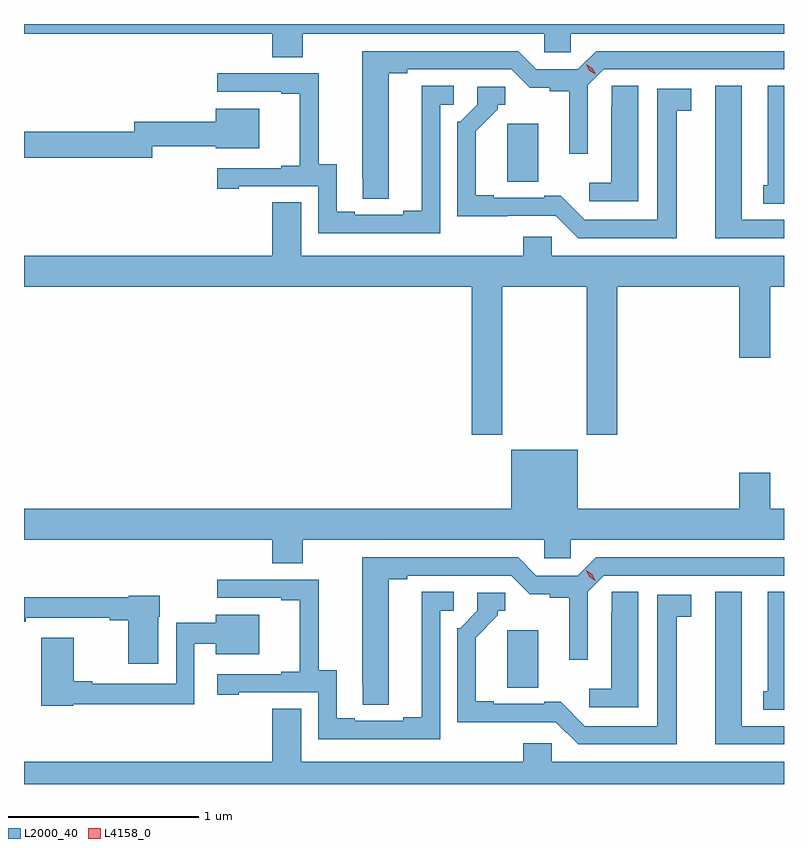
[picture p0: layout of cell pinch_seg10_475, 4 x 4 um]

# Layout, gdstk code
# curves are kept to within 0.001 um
import gdstk
lib = gdstk.Library(unit=1e-6, precision=1e-09)
def P(c, l, *ps):  # polygons
    for p in ps: c.add(gdstk.Polygon(p, *l))
L2000_40 = (2000, 40)
L4158_0 = (4158, 0)

pinch_seg10_475 = lib.new_cell('pinch_seg10_475')
P(pinch_seg10_475, L2000_40, [(198.675,1304.312),(199.947,1304.312),(199.947,1304.214),(200.085,1304.214),(200.085,1304.312),(201.208,1304.312),(201.208,1304.363),(197.208,1304.363),(197.208,1304.312),(198.515,1304.312),(198.515,1304.188),(198.675,1304.188)],
  [(199.129,1304.104),(199.225,1304.104),(199.225,1304.124),(199.773,1304.124),(199.871,1304.027),(199.974,1304.027),(199.974,1304.008),(200.078,1304.008),(200.078,1303.68),(200.175,1303.68),(200.175,1304.04),(200.259,1304.124),(201.208,1304.124),(201.208,1304.22),(200.219,1304.22),(200.123,1304.124),(199.905,1304.124),(199.809,1304.22),(198.989,1304.22),(198.99,1303.444),(199.129,1303.444)],
  [(199.398,1303.938),(199.471,1303.938),(199.471,1304.039),(199.301,1304.039),(199.301,1303.379),(199.205,1303.379),(199.205,1303.359),(198.949,1303.359),(198.949,1303.374),(198.853,1303.374),(198.853,1303.625),(198.759,1303.625),(198.759,1304.103),(198.225,1304.103),(198.225,1304.007),(198.563,1304.007),(198.563,1303.995),(198.659,1303.995),(198.659,1303.618),(198.563,1303.618),(198.563,1303.605),(198.225,1303.605),(198.225,1303.497),(198.337,1303.497),(198.337,1303.509),(198.756,1303.509),(198.756,1303.263),(199.398,1303.263)],
  [(200.44,1304.039),(200.301,1304.039),(200.301,1303.931),(200.3,1303.931),(200.3,1303.528),(200.184,1303.528),(200.184,1303.431),(200.44,1303.431)],
  [(201.208,1304.038),(201.122,1304.038),(201.122,1303.515),(201.098,1303.515),(201.098,1303.417),(201.208,1303.417)],
  [(201.208,1303.332),(200.986,1303.332),(200.986,1304.038),(200.846,1304.038),(200.846,1303.236),(201.208,1303.236)],
  [(200.644,1303.906),(200.719,1303.906),(200.719,1304.022),(200.54,1304.022),(200.54,1303.332),(200.16,1303.332),(200.032,1303.46),(199.946,1303.46),(199.946,1303.449),(199.681,1303.449),(199.681,1303.462),(199.585,1303.462),(199.585,1303.798),(199.702,1303.915),(199.702,1303.938),(199.741,1303.938),(199.741,1304.034),(199.593,1304.034),(199.593,1303.938),(199.503,1303.848),(199.488,1303.848),(199.488,1303.352),(200.007,1303.353),(200.124,1303.236),(200.644,1303.236)],
  [(197.883,1303.72),(198.218,1303.72),(198.218,1303.709),(198.445,1303.709),(198.445,1303.918),(198.218,1303.918),(198.218,1303.849),(197.787,1303.849),(197.787,1303.796),(197.208,1303.796),(197.208,1303.66),(197.883,1303.66)],
  [(199.914,1303.692),(199.915,1303.692),(199.915,1303.837),(199.751,1303.837),(199.751,1303.534),(199.914,1303.534)],
  [(199.725,1302.98),(200.17,1302.98),(200.17,1302.201),(200.33,1302.201),(200.33,1302.98),(200.972,1302.98),(200.972,1302.606),(201.136,1302.606),(201.136,1302.98),(201.208,1302.98),(201.208,1303.144),(199.986,1303.144),(199.986,1303.242),(199.835,1303.242),(199.835,1303.144),(198.667,1303.144),(198.667,1303.424),(198.515,1303.424),(198.515,1303.144),(197.208,1303.144),(197.208,1302.98),(199.565,1302.98),(199.565,1302.201),(199.725,1302.201)],
  [(198.675,1301.648),(199.947,1301.648),(199.947,1301.55),(200.085,1301.55),(200.085,1301.648),(201.208,1301.648),(201.208,1301.812),(201.136,1301.812),(201.136,1302.001),(200.972,1302.001),(200.972,1301.812),(200.122,1301.812),(200.122,1302.121),(199.772,1302.121),(199.772,1301.812),(197.208,1301.812),(197.208,1301.648),(198.515,1301.648),(198.515,1301.524),(198.675,1301.524)],
  [(199.129,1301.44),(199.225,1301.44),(199.225,1301.46),(199.773,1301.46),(199.871,1301.363),(199.974,1301.363),(199.974,1301.344),(200.078,1301.344),(200.078,1301.016),(200.175,1301.016),(200.175,1301.376),(200.259,1301.46),(201.208,1301.46),(201.208,1301.556),(200.219,1301.556),(200.123,1301.46),(199.905,1301.46),(199.809,1301.556),(198.989,1301.556),(198.99,1300.78),(199.129,1300.78)],
  [(199.398,1301.274),(199.471,1301.274),(199.471,1301.375),(199.301,1301.375),(199.301,1300.715),(199.205,1300.715),(199.205,1300.695),(198.949,1300.695),(198.949,1300.71),(198.853,1300.71),(198.853,1300.961),(198.759,1300.961),(198.759,1301.439),(198.225,1301.439),(198.225,1301.343),(198.563,1301.343),(198.563,1301.331),(198.659,1301.331),(198.659,1300.954),(198.563,1300.954),(198.563,1300.941),(198.225,1300.941),(198.225,1300.833),(198.337,1300.833),(198.337,1300.845),(198.756,1300.845),(198.756,1300.599),(199.398,1300.599)],
  [(200.44,1301.375),(200.301,1301.375),(200.301,1301.267),(200.3,1301.267),(200.3,1300.864),(200.184,1300.864),(200.184,1300.767),(200.44,1300.767)],
  [(201.208,1300.668),(200.986,1300.668),(200.986,1301.374),(200.846,1301.374),(200.846,1300.572),(201.208,1300.572)],
  [(201.208,1301.374),(201.122,1301.374),(201.122,1300.851),(201.098,1300.851),(201.098,1300.753),(201.208,1300.753)],
  [(200.644,1301.242),(200.719,1301.242),(200.719,1301.358),(200.54,1301.358),(200.54,1300.668),(200.16,1300.668),(200.032,1300.796),(199.946,1300.796),(199.946,1300.785),(199.681,1300.785),(199.681,1300.798),(199.585,1300.798),(199.585,1301.134),(199.702,1301.251),(199.702,1301.274),(199.741,1301.274),(199.741,1301.37),(199.593,1301.37),(199.593,1301.274),(199.503,1301.184),(199.488,1301.184),(199.488,1300.688),(200.007,1300.689),(200.124,1300.572),(200.644,1300.572)],
  [(197.914,1301.243),(197.922,1301.243),(197.922,1301.355),(197.76,1301.355),(197.76,1301.347),(197.208,1301.347),(197.208,1301.218),(197.216,1301.218),(197.216,1301.238),(197.66,1301.238),(197.66,1301.226),(197.756,1301.226),(197.756,1300.995),(197.914,1300.995)],
  [(197.466,1300.782),(198.105,1300.782),(198.105,1301.102),(198.218,1301.102),(198.218,1301.045),(198.445,1301.045),(198.445,1301.254),(198.218,1301.254),(198.218,1301.212),(198.009,1301.212),(198.009,1300.89),(197.566,1300.89),(197.566,1300.903),(197.47,1300.903),(197.47,1301.134),(197.3,1301.134),(197.3,1300.774),(197.466,1300.774)],
  [(199.914,1301.028),(199.915,1301.028),(199.915,1301.173),(199.751,1301.173),(199.751,1300.87),(199.914,1300.87)],
  [(201.208,1300.48),(199.986,1300.48),(199.986,1300.578),(199.835,1300.578),(199.835,1300.48),(198.667,1300.48),(198.667,1300.76),(198.515,1300.76),(198.515,1300.48),(197.208,1300.48),(197.208,1300.363),(201.208,1300.363)])
P(pinch_seg10_475, L4158_0, [(200.216,1304.098),(200.184,1304.118),(200.167,1304.151),(200.167,1304.152),(200.168,1304.152),(200.199,1304.131),(200.216,1304.098),(200.216,1304.098)],
  [(200.214,1301.433),(200.184,1301.454),(200.167,1301.487),(200.167,1301.487),(200.167,1301.487),(200.198,1301.467),(200.215,1301.434),(200.215,1301.433)])

lib.write_gds('pinch_seg10_475.gds')
